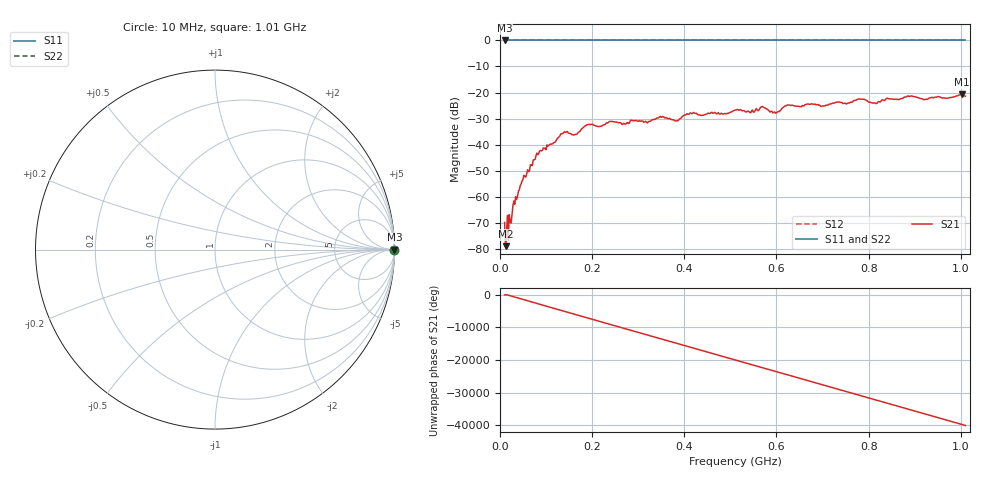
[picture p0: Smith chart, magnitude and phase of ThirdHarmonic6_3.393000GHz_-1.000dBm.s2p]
! 8/17/2025 10:49:09 AM
! C:\ANRITSUVNA\TEMP\TEMP.S2P
! CHANNEL.1
! TR.MEASUREMENT
! RAW.DATA
! RF.CORRECTION.OFF
! AVERAGING.OFF
! IF.BANDWIDTH: 5KHZ
! SWEEPTYPE:  FREQ.SWEEP(Linear)
! Reference Plane Port Info
! PORT:  PORT1  PORT2
! DISTANCE:  0  m  0  m
! TIME:  0  s  0  s
! PHASE.OFFSET:  0  deg.  0  deg.
! LOSS:  0  dB  0  dB
! REF.LOSS:  0  dB  0  dB
! REF.FREQ:  0  Hz  0  Hz
! Power Info
! POWER:  -20  dBm  -20  dBm
! EFF.POWER:  -20  dBm  -20  dBm
! SOURCE.ATTEN:  0  dB  0  dB
! TEST.ATTEN:  0  dB  0  dB
# GHZ S RI R 50.0
! FREQ.GHZ  S11RE  S11IM  S21RE  S21IM  S12RE  S12IM  S22RE  S22IM
!; PortSelection: Port_12
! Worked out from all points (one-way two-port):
!   501 points, 10 MHz to 1.01 GHz, reference 50 ohm
!   highest |S21| = -20.68 dB at 1.002 GHz (marker M1); lowest = -79.0 dB at 12 MHz (marker M2)
!   lowest |S11| = 0.0 dB at 10 MHz (marker M3)
!   |S11| at or under -10 dB: nowhere
!   |S22| runs from 0.0 to 0.0 dB; largest |S21 - S12| = 1.1
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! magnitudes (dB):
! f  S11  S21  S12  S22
! 10 MHz  0.0  -69.9  0.0  0.0
! 12 MHz  0.0  -79.0  0.0  0.0
! 14 MHz  0.0  -75.7  0.0  0.0
! 22 MHz  0.0  -69.6  0.0  0.0
! 30 MHz  0.0  -61.6  0.0  0.0
! 48 MHz  0.0  -54.0  0.0  0.0
! 82 MHz  0.0  -43.9  0.0  0.0
! 136 MHz  0.0  -35.8  0.0  0.0
! 162 MHz  0.0  -36.2  0.0  0.0
! 178 MHz  0.0  -33.9  0.0  0.0
! 344 MHz  0.0  -29.7  0.0  0.0
! 382 MHz  0.0  -30.8  0.0  0.0
! 416 MHz  0.0  -28.1  0.0  0.0
! 510 MHz  0.0  -26.8  0.0  0.0
! 570 MHz  0.0  -25.3  0.0  0.0
! 596 MHz  0.0  -27.4  0.0  0.0
! 624 MHz  0.0  -24.8  0.0  0.0
! 678 MHz  0.0  -24.5  0.0  0.0
! 814 MHz  0.0  -24.0  0.0  0.0
! 844 MHz  0.0  -22.5  0.0  0.0
! 1.002 GHz  0.0  -20.7  0.0  0.0
! 1.01 GHz  0.0  -21.4  0.0  0.0
